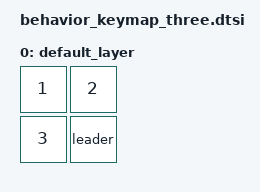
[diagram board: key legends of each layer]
#include <dt-bindings/zmk/keys.h>
#include <behaviors.dtsi>
#include <dt-bindings/zmk/kscan_mock.h>

/ {
    leader: leader {
        compatible = "zmk,behavior-leader-key";
        #binding-cells = <0>;

        leader_seq_one {
            key-positions = <0 1 2>;
            bindings = <&kp A>;
        };

        leader_seq_two {
            key-positions = <3 3>;
            bindings = <&kp B>;
        };
    };

    keymap {
        compatible = "zmk,keymap";
        label ="Default keymap";

        default_layer {
            bindings = <
                &kp N1 &kp N2
                &kp N3 &leader
            >;
        };
    };
};
